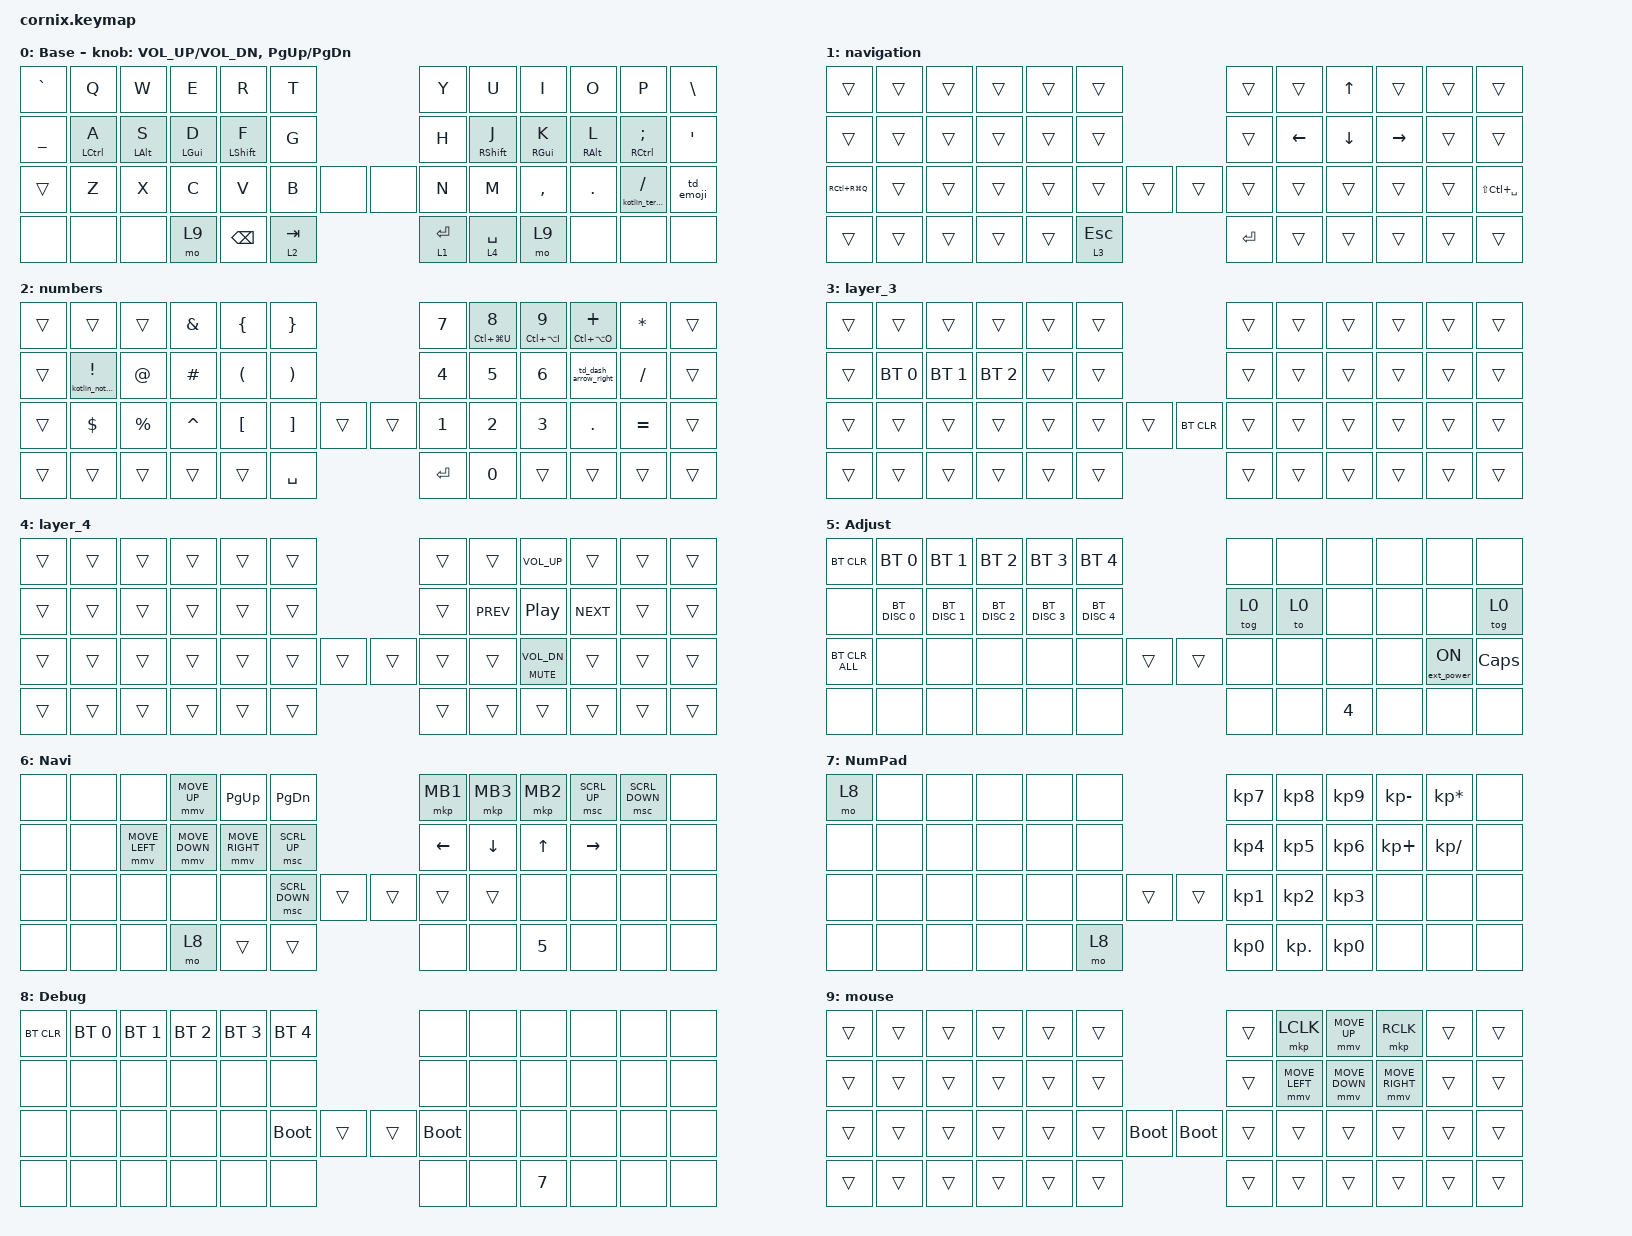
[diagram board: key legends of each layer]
/*
 * Copyright (c) 2020 The ZMK Contributors
 *
 * SPDX-License-Identifier: MIT
 */

#include "zmk-helpers/helper.h"
#include "includes/cornix54.h"

// tap windows for ctl alt and gui

#define HM_TAPPING_TERM 280
#define HM_TAPPING_REPEAT 200

// quick tapping for shift

#define HM_TAPPING_TERM_FAST 200
#define HM_PRIOR_IDLE 70
#define BASE 0
#define WIN 1
#define LOWER 2
#define RAISE 3
#define ADJUST 4
#define NAVI   5
#define NUM    6
#define DEBUG  7

// https://github.com/urob/zmk-config/tree/main#timeless-homerow-mods

#define KEYS_L LT0 LT1 LT2 LT3 LT4 LT5 LM0 LM1 LM2 LM3 LM4 LM5 LB0 LB1 LB2 LB3 LB4 LB5  // left hand
#define KEYS_R RT0 RT1 RT2 RT3 RT4 RT5 RM0 RM1 RM2 RM3 RM4 RM5 RB0 RB1 RB2 RB3 RB4 RB5  // right hand
#define THUMBS LH1 LH0 RH0 RH1
#define KEYS_T LH1 LH0 RH0 RH1
#define ZMK_POINTING_DEFAULT_SCRL_VAL 15

#include <behaviors.dtsi>
#include <dt-bindings/zmk/bt.h>
#include <dt-bindings/zmk/ext_power.h>
#include <dt-bindings/zmk/keys.h>
#include <dt-bindings/zmk/pointing.h>

&caps_word { continue-list = <UNDERSCORE MINUS>; };

/ {
    // Activate ADJUST layer by pressing raise and lower

    behaviors {
        hm_l: homerow_mods_left {
            compatible = "zmk,behavior-hold-tap";
            #binding-cells = <2>;
            bindings = <&kp>, <&kp>;

            flavor = "balanced";
            tapping-term-ms = <HM_TAPPING_TERM>;
            quick-tap-ms = <175>;                // repeat on tap-into-hold
            require-prior-idle-ms = <HM_PRIOR_IDLE>;
            hold-trigger-key-positions = <KEYS_R KEYS_T>;
            hold-trigger-on-release;
        };

        hm_r: homerow_mods_right {
            compatible = "zmk,behavior-hold-tap";
            #binding-cells = <2>;
            bindings = <&kp>, <&kp>;

            flavor = "balanced";
            tapping-term-ms = <HM_TAPPING_TERM>;
            quick-tap-ms = <175>;
            require-prior-idle-ms = <HM_PRIOR_IDLE>;
            hold-trigger-key-positions = <KEYS_L KEYS_T>;
            hold-trigger-on-release;
        };

        // Positional Homerow mods for shift
        // Use faster tapping term and disable some features that may
        // cause false negatives.

        hm_shift_l: hm_shift_l {
            compatible = "zmk,behavior-hold-tap";
            #binding-cells = <2>;
            bindings = <&kp>, <&kp>;

            flavor = "balanced";
            tapping-term-ms = <HM_TAPPING_TERM_FAST>;
            quick-tap-ms = <175>;
            require-prior-idle-ms = <HM_PRIOR_IDLE>;
            hold-trigger-key-positions = <KEYS_R KEYS_T>;
            hold-trigger-on-release;
        };

        hm_shift_r: hm_shift_r {
            compatible = "zmk,behavior-hold-tap";
            #binding-cells = <2>;
            bindings = <&kp>, <&kp>;

            flavor = "balanced";
            tapping-term-ms = <HM_TAPPING_TERM_FAST>;
            quick-tap-ms = <175>;
            require-prior-idle-ms = <HM_PRIOR_IDLE>;
            hold-trigger-key-positions = <KEYS_L KEYS_T>;

            // for quick tapping; shift+~

            hold-trigger-on-release;
        };

        /*
         * Non-Positional Homerow Mods
         * Used for &mm_grescm_gui behavior on left hand.
         *
         * Usage: &hm LSHFT T
         * Tap: T
         * Tap-Tap-Hold: Repeat T
         * Hold: LSHIFT
         */

        hm: homerow_mods {
            compatible = "zmk,behavior-hold-tap";
            #binding-cells = <2>;
            bindings = <&kp>, <&kp>;

            flavor = "tap-preferred";
            tapping-term-ms = <HM_TAPPING_TERM>;
            quick-tap-ms = <200>;
        };

        /*
         * Used by the D+F / J+K paren combos below.
         * hold-preferred: fires the hold the instant another key is pressed
         * while still held, so Cmd+Shift engages immediately when you press
         * an arrow key to select — no need to wait out tapping-term-ms.
         */

        combo_ht: combo_ht {
            compatible = "zmk,behavior-hold-tap";
            #binding-cells = <2>;
            bindings = <&kp>, <&kp>;

            flavor = "hold-preferred";
            tapping-term-ms = <200>;
        };

        lt: layer_tap {
            compatible = "zmk,behavior-hold-tap";
            #binding-cells = <2>;
            bindings = <&mo>, <&kp>;

            // tap-preferred: protects taps (e.g. SPACE) from accidentally
            // engaging the layer during fast typing rolls.

            flavor = "tap-preferred";
            tapping-term-ms = <HM_TAPPING_TERM>;
            quick-tap-ms = <200>;
        };

        lt_hold: layer_tap_hold {
            compatible = "zmk,behavior-hold-tap";
            #binding-cells = <2>;
            bindings = <&mo>, <&kp>;

            // hold-preferred: the layer engages the instant the next key is
            // pressed, so symbols/numbers (e.g. "(") never fall through to the
            // base layer. Use for thumbs you hold-and-type-on.

            flavor = "hold-preferred";
            tapping-term-ms = <200>;
            quick-tap-ms = <175>;
        };

        td_dash_arrow_right: td_dash_arrow_right {
            compatible = "zmk,behavior-tap-dance";
            label = "TD_DASH_ARROW_RIGHT";
            #binding-cells = <0>;
            bindings = <&kp MINUS>, <&dash_arrow_right>;
        };

        td_emoji: td_emoji {
            compatible = "zmk,behavior-tap-dance";
            label = "TD_EMOJI";
            #binding-cells = <0>;
            bindings = <&none>, <&kp LC(LG(SPACE))>;
        };

        td_kotlin_ternary_operator: td_kotlin_ternary_operator {
            compatible = "zmk,behavior-hold-tap";
            label = "TD_KOTLIN_TERNARY_OPERATOR";
            bindings = <&kotlin_ternary_operator>, <&kp>;

            #binding-cells = <2>;
            tapping-term-ms = <175>;
            flavor = "tap-preferred";
        };

        td_kotlin_not_equal_comparison: td_kotlin_not_equal_comparison {
            compatible = "zmk,behavior-hold-tap";
            label = "TD_KOTLIN_NOT_EQUAL_COMPARISON";
            bindings = <&kotlin_not_equal_comparison>, <&kp>;

            #binding-cells = <2>;
            tapping-term-ms = <175>;
            flavor = "tap-preferred";
        };
    };

    conditional_layers {
        compatible = "zmk,conditional-layers";

        adjust_layer {
            if-layers = <5 5>;
            then-layer = <5>;
        };
    };

    combos {
        compatible = "zmk,combos";

        combo_caps_word {
            bindings = <&caps_word>;
            key-positions = <16 19>;
        };

        combo_alfred {
            bindings = <&kp LC(SPACE)>;
            key-positions = <43 44>;
        };

        combo_clipboard {
            bindings = <&kp LS(LG(V))>;
            key-positions = <42 45>;
        };

        combo_caps_lock {
            bindings = <&kp CAPS>;
            key-positions = <17 18>;
        };

        combo_context_window_switcher {
            bindings = <&kp LS(LA(LC(LG(SPACE))))>;
            key-positions = <15 20>;
        };

        combo_dash {
            bindings = <&kp MINUS>;
            key-positions = <18 19>;
        };

        combo_paren_open {
            timeout-ms = <18>;
            require-prior-idle-ms = <70>;
            key-positions = <15 16>;
            bindings = <&combo_ht LS(LGUI) LEFT_PARENTHESIS>;
        };

        combo_paren_close {
            timeout-ms = <18>;
            require-prior-idle-ms = <70>;
            key-positions = <19 20>;
            bindings = <&combo_ht LS(LGUI) RIGHT_PARENTHESIS>;
        };

        combo_paren_pair {
            timeout-ms = <18>;
            require-prior-idle-ms = <70>;
            key-positions = <15 16 19 20>;
            bindings = <&paren_pair>;
        };

        combo_left_bracket {
            bindings = <&kp LEFT_BRACKET>;
            key-positions = <28 29>;
        };

        combo_left_brace {
            bindings = <&kp LEFT_BRACE>;
            key-positions = <4 5>;
        };
    };

    macros {
        paren_pair: paren_pair {
            compatible = "zmk,behavior-macro";
            #binding-cells = <0>;
            bindings = <&kp LEFT_PARENTHESIS &kp RIGHT_PARENTHESIS &kp LEFT>;
            label = "PAREN_PAIR";
        };

        dash_arrow_right: dash_arrow_right {
            compatible = "zmk,behavior-macro";
            #binding-cells = <0>;
            bindings = <&kp MINUS &kp GREATER_THAN>;
            label = "DASH_ARROW_RIGHT";
        };

        kotlin_ternary_operator: kotlin_ternary_operator {
            compatible = "zmk,behavior-macro";
            #binding-cells = <0>;
            bindings = <&kp QUESTION &kp COLON>;
            label = "KOTLIN_TERNARY_OPERATOR";
        };

        kotlin_not_equal_comparison: kotlin_not_equal_comparison {
            compatible = "zmk,behavior-macro";
            #binding-cells = <0>;
            bindings = <&kp EXCLAMATION &kp EQUAL>;
            label = "KOTLIN_NOT_EQUAL_COMPARISON";
        };
    };

    keymap {
        compatible = "zmk,keymap";

        default_layer {
            display-name = "Base";

            // ------------------------------------------------------------------------------------------------------------
            // |   `   |  1  |  2  |  3   |  4   |  5   |                   |  6   |  7    |  8    |  9   |   0   |       |
            // |  ESC  |  Q  |  W  |  E   |  R   |  T   |                   |  Y   |  U    |  I    |  O   |   P   | BKSPC |
            // |  TAB  |  A  |  S  |  D   |  F   |  G   |                   |  H   |  J    |  K    |  L   |   ;   |   '   |
            // | SHIFT |  Z  |  X  |  C   |  V   |  B   |  MUTE  |  |       |  N   |  M    |  ,    |  .   |   /   | SHIFT |
            //               | GUI | ALT  | CTRL | LOWER|  ENTER |  | SPACE | RAISE| CTRL  | ALT   | GUI  |

            bindings = <
&kp GRAVE       &kp Q          &kp W         &kp E         &kp R                &kp T                         &kp Y             &kp U                &kp I         &kp O         &kp P                                &kp BSLH
&kp UNDERSCORE  &hm_l LCTRL A  &hm_l LALT S  &hm_l LGUI D  &hm_shift_l LSHFT F  &kp G                         &kp H             &hm_shift_r RSHFT J  &hm_r RGUI K  &hm_r RALT L  &hm_r RCTRL SEMI                     &kp SQT
&trans          &kp Z          &kp X         &kp C         &kp V                &kp B           &none  &none  &kp N             &kp M                &kp COMMA     &kp DOT       &td_kotlin_ternary_operator 0 SLASH  &td_emoji
&none           &none          &none         &mo 9         &kp BACKSPACE        &lt_hold 2 TAB                &lt_hold 1 ENTER  &lt 4 SPACE          &mo 9         &none         &none                                &none
            >;

            sensor-bindings = <&inc_dec_kp C_VOL_UP C_VOL_DN &inc_dec_kp PG_UP PG_DN>;
        };

        navigation {
            bindings = <
&trans         &trans  &trans  &trans  &trans  &trans                          &trans   &trans    &kp UP    &trans     &trans  &trans
&trans         &trans  &trans  &trans  &trans  &trans                          &trans   &kp LEFT  &kp DOWN  &kp RIGHT  &trans  &trans
&kp RC(RG(Q))  &trans  &trans  &trans  &trans  &trans          &trans  &trans  &trans   &trans    &trans    &trans     &trans  &kp LS(LC(SPACE))
&trans         &trans  &trans  &trans  &trans  &lt_hold 3 ESC                  &kp RET  &trans    &trans    &trans     &trans  &trans
            >;
        };

        numbers {
            bindings = <
&trans  &trans                                         &trans     &kp AMPS   &kp LBRC              &kp RBRC                               &kp N7   &mt LC(LG(U)) N8  &mt LC(LA(I)) N9  &mt LC(LA(O)) PLUS    &kp ASTERISK  &trans
&trans  &td_kotlin_not_equal_comparison 0 EXCLAMATION  &kp AT     &kp HASH   &kp LEFT_PARENTHESIS  &kp RIGHT_PARENTHESIS                  &kp N4   &kp N5            &kp N6            &td_dash_arrow_right  &kp FSLH      &trans
&trans  &kp DLLR                                       &kp PRCNT  &kp CARET  &kp LEFT_BRACKET      &kp RIGHT_BRACKET      &trans  &trans  &kp N1   &kp N2            &kp N3            &kp DOT               &kp EQUAL     &trans
&trans  &trans                                         &trans     &trans     &trans                &kp SPACE                              &kp RET  &kp N0            &trans            &trans                &trans        &trans
            >;
        };

        layer_3 {
            bindings = <
&trans  &trans        &trans        &trans        &trans  &trans                      &trans  &trans  &trans  &trans  &trans  &trans
&trans  &bt BT_SEL 0  &bt BT_SEL 1  &bt BT_SEL 2  &trans  &trans                      &trans  &trans  &trans  &trans  &trans  &trans
&trans  &trans        &trans        &trans        &trans  &trans  &trans  &bt BT_CLR  &trans  &trans  &trans  &trans  &trans  &trans
&trans  &trans        &trans        &trans        &trans  &trans                      &trans  &trans  &trans  &trans  &trans  &trans
            >;
        };

        layer_4 {
            bindings = <
&trans  &trans  &trans  &trans  &trans  &trans                  &trans  &trans      &kp K_VOL_UP         &trans      &trans  &trans
&trans  &trans  &trans  &trans  &trans  &trans                  &trans  &kp C_PREV  &kp C_PP             &kp C_NEXT  &trans  &trans
&trans  &trans  &trans  &trans  &trans  &trans  &trans  &trans  &trans  &trans      &mt K_MUTE K_VOL_DN  &trans      &trans  &trans
&trans  &trans  &trans  &trans  &trans  &trans                  &trans  &trans      &trans               &trans      &trans  &trans
            >;
        };

        Adjust_layer {
            display-name = "Adjust";

            // ----------------------------------------------------------------------------------------------------------------------------
            // | BTCLR  |  BT1    |  BT2    |   BT3   |   BT4   |   BT5   |                  |      |      |       |      |       |       |
            // | moDEBUG| RGB_HUD | RGB_HUI | RGB_SAD | RGB_SAI | RGB_EFF |                  |      |      |       |      |       |       |
            // | EXTPWR | RGB_BRD | RGB_BRI |         |         |         |                  |      |      |       |      |       |       |
            // |        |         |         |         |         |         | RGB_TOG | |      |      |      |       |      |       |       |
            //                    |         |         |         |         |         | |      |      |      |       |      |

            bindings = <
&bt BT_CLR      &bt BT_SEL 0   &bt BT_SEL 1   &bt BT_SEL 2   &bt BT_SEL 3   &bt BT_SEL 4                   &none   &none  &none   &none  &none             &none
&none           &bt BT_DISC 0  &bt BT_DISC 1  &bt BT_DISC 2  &bt BT_DISC 3  &bt BT_DISC 4                  &tog 0  &to 0  &none   &none  &none             &tog 0
&bt BT_CLR_ALL  &none          &none          &none          &none          &none          &trans  &trans  &none   &none  &none   &none  &ext_power EP_ON  &kp CAPSLOCK
&none           &none          &none          &none          &none          &none                          &none   &none  &kp N4  &none  &none             &none
            >;
        };

        Navi_layer {
            display-name = "Navi";
            bindings = <
&none  &none  &none           &mmv MOVE_UP    &kp PAGE_UP      &kp PAGE_DOWN                   &mkp MB1  &mkp MB3  &mkp MB2  &msc SCRL_UP  &msc SCRL_DOWN  &none
&none  &none  &mmv MOVE_LEFT  &mmv MOVE_DOWN  &mmv MOVE_RIGHT  &msc SCRL_UP                    &kp LEFT  &kp DOWN  &kp UP    &kp RIGHT     &none           &none
&none  &none  &none           &none           &none            &msc SCRL_DOWN  &trans  &trans  &trans    &trans    &none     &none         &none           &none
&none  &none  &none           &mo 8           &trans           &trans                          &none     &none     &kp N5    &none         &none           &none
            >;
        };

        KeyPad_layer {
            display-name = "NumPad";
            bindings = <
&mo 8  &none  &none  &none  &none  &none                  &kp KP_N7        &kp KP_N8        &kp KP_N9        &kp KP_MINUS  &kp KP_MULTIPLY  &none
&none  &none  &none  &none  &none  &none                  &kp KP_NUMBER_4  &kp KP_NUMBER_5  &kp KP_N6        &kp KP_PLUS   &kp KP_DIVIDE    &none
&none  &none  &none  &none  &none  &none  &trans  &trans  &kp KP_NUMBER_1  &kp KP_NUMBER_2  &kp KP_N3        &none         &none            &none
&none  &none  &none  &none  &none  &mo 8                  &kp KP_N0        &kp KP_DOT       &kp KP_NUMBER_0  &none         &none            &none
            >;
        };

        NumSym {
            display-name = "Debug";

            // ----------------------------------------------------------------------------------------------------------------------------
            // | BTCLR  |  BT1    |  BT2    |   BT3   |   BT4   |   BT5   |                  |      |      |       |      |       |       |
            // | EXTPWR | BTCLR | RGB_HUI | RGB_SAD | RGB_SAI | RGB_EFF |                  |      |      |       |      |       |       |
            // |        | RGB_BRD | RGB_BRI |         |         |         |                  |      |      |       |      |       |       |
            // |        |         |         |         |         |         | RGB_TOG | |      |      |      |       |      |       |       |
            //                    |         |         |         |         |         | |      |      |      |       |      |

            bindings = <
&bt BT_CLR  &bt BT_SEL 0  &bt BT_SEL 1  &bt BT_SEL 2  &bt BT_SEL 3  &bt BT_SEL 4                  &none        &none  &none   &none  &none  &none
&none       &none         &none         &none         &none         &none                         &none        &none  &none   &none  &none  &none
&none       &none         &none         &none         &none         &bootloader   &trans  &trans  &bootloader  &none  &none   &none  &none  &none
&none       &none         &none         &none         &none         &none                         &none        &none  &kp N7  &none  &none  &none
            >;
        };

        mouse {
            bindings = <
&trans  &trans  &trans  &trans  &trans  &trans                            &trans  &mkp LCLK       &mmv MOVE_UP    &mkp RCLK        &trans  &trans
&trans  &trans  &trans  &trans  &trans  &trans                            &trans  &mmv MOVE_LEFT  &mmv MOVE_DOWN  &mmv MOVE_RIGHT  &trans  &trans
&trans  &trans  &trans  &trans  &trans  &trans  &bootloader  &bootloader  &trans  &trans          &trans          &trans           &trans  &trans
&trans  &trans  &trans  &trans  &trans  &trans                            &trans  &trans          &trans          &trans           &trans  &trans
            >;
        };
    };
};
